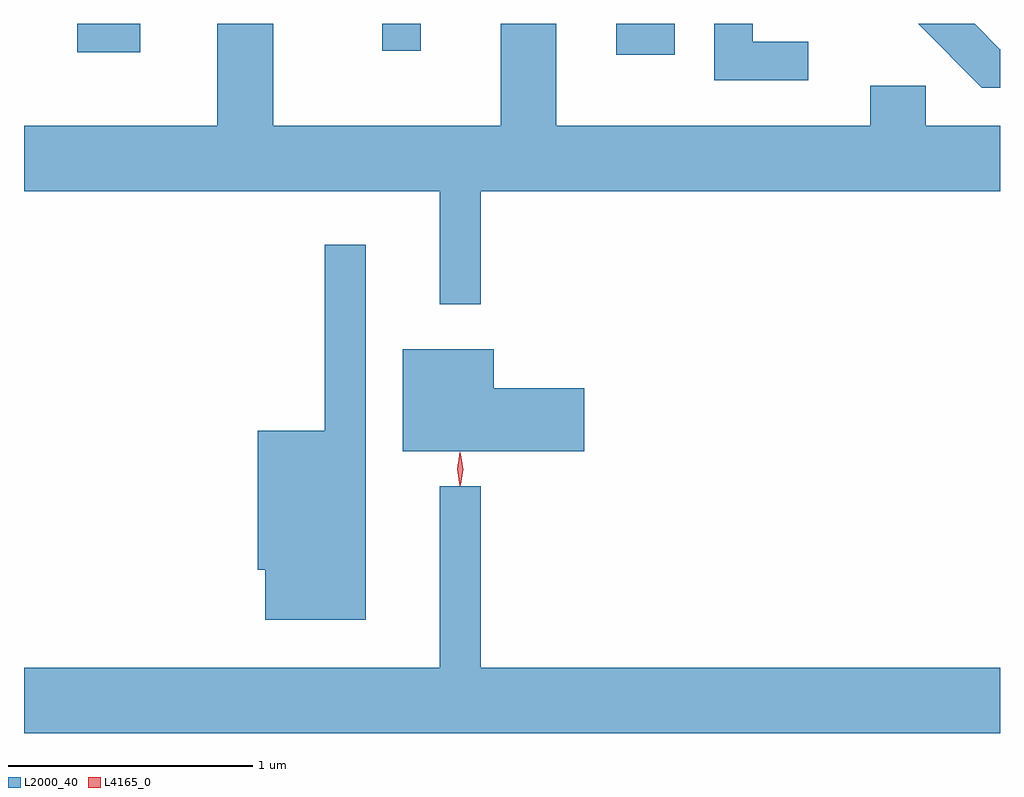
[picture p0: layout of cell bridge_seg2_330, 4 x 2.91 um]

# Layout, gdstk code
import gdstk
lib = gdstk.Library(unit=1e-6, precision=1e-09)
def R(c, l, rs):  # rectangles x0, y0, x1, y1
    for r in rs: c.add(gdstk.rectangle(r[:2], r[2:], *l))
def P(c, l, *ps):  # polygons
    for p in ps: c.add(gdstk.Polygon(p, *l))
L2000_40 = (2000, 40)
L4165_0 = (4165, 0)

bridge_seg2_330 = lib.new_cell('bridge_seg2_330')
R(bridge_seg2_330, L2000_40, [(441.326,993.376,441.564,993.502), (439.116,993.386,439.374,993.502), (440.366,993.393,440.524,993.502)])
P(bridge_seg2_330, L2000_40, [(440.769,992.816),(442.898,992.816),(442.898,993.084),(442.594,993.084),(442.594,993.249),(442.366,993.249),(442.366,993.084),(441.079,993.084),(441.079,993.502),(440.851,993.502),(440.851,993.084),(439.919,993.084),(439.919,993.502),(439.691,993.502),(439.691,993.084),(438.898,993.084),(438.898,992.816),(440.601,992.816),(440.601,992.353),(440.769,992.353)],
  [(442.113,993.429),(441.884,993.429),(441.884,993.502),(441.726,993.502),(441.726,993.271),(442.113,993.271)],
  [(442.898,993.399),(442.897,993.399),(442.794,993.502),(442.563,993.502),(442.824,993.241),(442.898,993.241)],
  [(440.299,992.598),(440.131,992.598),(440.131,991.834),(439.856,991.834),(439.856,991.266),(439.886,991.266),(439.886,991.061),(440.299,991.061)],
  [(441.194,992.009),(440.824,992.009),(440.824,992.169),(440.451,992.169),(440.451,991.751),(441.194,991.751)],
  [(442.898,990.864),(440.769,990.864),(440.769,991.608),(440.601,991.608),(440.601,990.864),(438.898,990.864),(438.898,990.596),(442.898,990.596)])
P(bridge_seg2_330, L4165_0, [(440.684,991.61),(440.684,991.61),(440.674,991.678),(440.684,991.746),(440.684,991.746),(440.685,991.746),(440.694,991.678),(440.685,991.61)],
  [(440.687,991.613),(440.678,991.676),(440.687,991.739),(440.688,991.74),(440.688,991.739),(440.698,991.676),(440.688,991.613),(440.688,991.613)])

lib.write_gds('bridge_seg2_330.gds')
